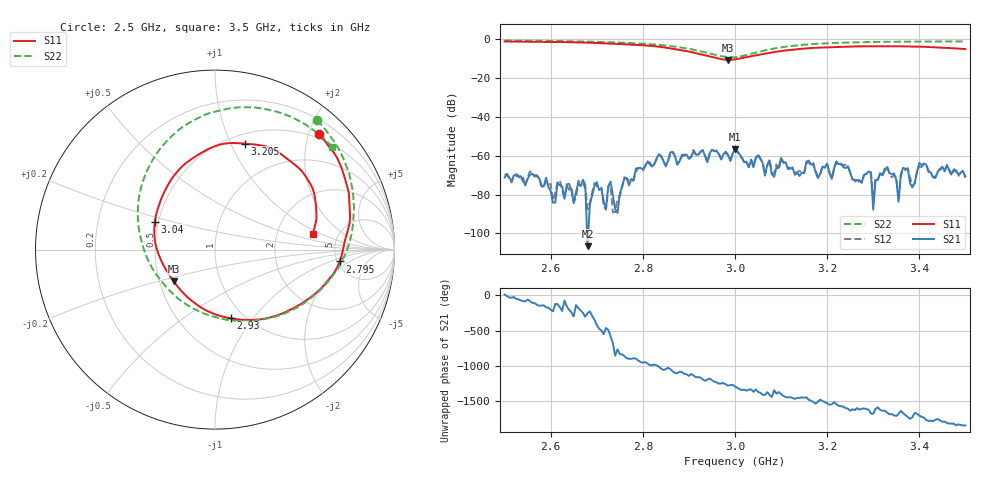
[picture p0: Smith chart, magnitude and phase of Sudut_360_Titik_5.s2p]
# Hz S RI R 50
! CMT, C1220, 16058040, 17.2.0/1
! Date: 15/08/2018 10:28:38
! Data: Format (Calibration Info)
! Freq  S11: Re/Im (F2)  S21: Re/Im (F2)  S12: Re/Im (F2)  S22: Re/Im (F2)
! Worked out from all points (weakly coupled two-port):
!   201 points, 2.5 GHz to 3.5 GHz, reference 50 ohm
!   highest |S21| = -56.65 dB at 3 GHz (marker M1); lowest = -106.5 dB at 2.68 GHz (marker M2)
!   lowest |S11| = -10.7 dB at 2.985 GHz (marker M3), VSWR 1.82, Z = 29.6 - j11.5 ohm
!   |S11| at or under -10 dB: 2.963 GHz to 3.01 GHz (47.01 MHz wide, 1.57 % of centre)
!   |S22| runs from -9.4 to -0.7 dB; largest |S21 - S12| = 0.00014
!   S11 on the Smith chart (normalised r, x): 2.5 GHz: 0.43, +2.18; 2.795 GHz: 5.26, -1.36; 2.93 GHz: 0.86, -0.78; 3.04 GHz: 0.48, +0.17; 3.205 GHz: 0.60, +1.13; 3.5 GHz: 3.24, +0.81
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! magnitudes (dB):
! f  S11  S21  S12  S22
! 2.5 GHz  -1.3  -71.3  -70.1  -0.7
! 2.59 GHz  -1.4  -71.4  -72.5  -1.0
! 2.605 GHz  -1.5  -84.2  -83.0  -1.0
! 2.67 GHz  -1.8  -72.4  -74.2  -1.3
! 2.68 GHz  -1.9  -106.5  -87.5  -1.3
! 2.75 GHz  -2.6  -79.6  -80.9  -1.8
! 2.795 GHz  -3.1  -66.4  -66.3  -2.3
! 2.835 GHz  -3.9  -59.2  -59.8  -3.0
! 2.93 GHz  -8.1  -57.0  -57.3  -6.6
! 2.985 GHz  -10.7  -59.7  -59.6  -9.3
! 3 GHz  -10.5  -56.6  -57.0  -9.3
! 3.04 GHz  -8.6  -66.0  -64.9  -7.3
! 3.17 GHz  -4.6  -64.3  -63.8  -2.6
! 3.205 GHz  -4.3  -68.9  -68.4  -2.1
! 3.295 GHz  -3.8  -68.5  -69.1  -1.6
! 3.3 GHz  -3.8  -87.8  -82.5  -1.5
! 3.335 GHz  -3.7  -68.9  -69.0  -1.4
! 3.355 GHz  -3.7  -83.7  -82.6  -1.4
! 3.365 GHz  -3.8  -66.2  -67.1  -1.4
! 3.385 GHz  -3.8  -76.3  -75.5  -1.3
! 3.4 GHz  -3.9  -63.7  -65.7  -1.3
! 3.5 GHz  -5.2  -70.6  -71.4  -1.2
